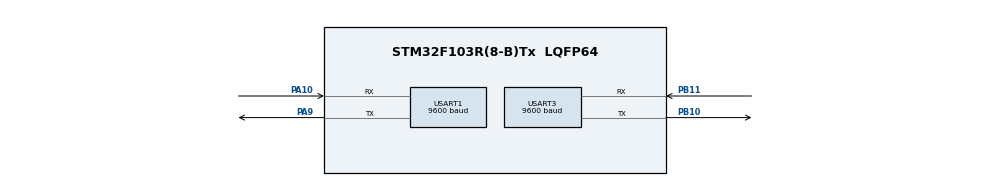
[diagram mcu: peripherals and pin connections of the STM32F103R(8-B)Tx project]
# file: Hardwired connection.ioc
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Mcu.Family=STM32F1
Mcu.Name=STM32F103R(8-B)Tx
Mcu.Package=LQFP64
NVIC.PriorityGroup=NVIC_PRIORITYGROUP_4
NVIC.USART1_IRQn=true\:0\:0\:false\:false\:true\:true\:true
NVIC.USART3_IRQn=true\:0\:0\:false\:false\:true\:true\:true
PA10.Mode=Asynchronous
PA10.Signal=USART1_RX
PA13.Mode=Serial_Wire
PA13.Signal=SYS_JTMS-SWDIO
PA14.Mode=Serial_Wire
PA14.Signal=SYS_JTCK-SWCLK
PA9.Mode=Asynchronous
PA9.Signal=USART1_TX
PB10.Mode=Asynchronous
PB10.Signal=USART3_TX
PB11.Mode=Asynchronous
PB11.Signal=USART3_RX
ProjectManager.HeapSize=0x200
ProjectManager.StackSize=0x400
ProjectManager.TargetToolchain=STM32CubeIDE
RCC.APB1Freq_Value=8000000
RCC.APB2Freq_Value=8000000
USART1.BaudRate=9600
USART1.VirtualMode=VM_ASYNC
USART3.BaudRate=9600
USART3.VirtualMode=VM_ASYNC
board=custom

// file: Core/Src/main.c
/* USER CODE BEGIN Header */
/**
  ******************************************************************************
  * @file           : main.c
  * @brief          : Main program body
  ******************************************************************************
  * @attention
  *
  * <h2><center>&copy; Copyright (c) 2021 STMicroelectronics.
  * All rights reserved.</center></h2>
  *
  * This software component is licensed by ST under BSD 3-Clause license,
  * the "License"; You may not use this file except in compliance with the
  * License. You may obtain a copy of the License at:
  *                        opensource.org/licenses/BSD-3-Clause
  *
  ******************************************************************************
  */
/* USER CODE END Header */
#include "main.h"

UART_HandleTypeDef huart1;
UART_HandleTypeDef huart3;

/* USER CODE BEGIN PV */
uint8_t uartBufferTX[] = {0x7E, 0x00, 0x0F, 0x17, 0x01, 0x00, 0x13, 0xA2, 0x00, 0x41, 0x68, 0x0B, 0xB9, 0xFF, 0xFE, 0x02, 0x25, 0x56, 0x4B};
uint8_t uartBufferRX[25];				//7E 00 0F 17 01 00 13 A2 00 41 68 0B B9 FF FE 02 25 56 4B

/* USER CODE END PV */

void SystemClock_Config(void);
static void MX_GPIO_Init(void);
static void MX_USART1_UART_Init(void);
static void MX_USART3_UART_Init(void);

int main(void)
{

  /* MCU Configuration--------------------------------------------------------*/

  /* Reset of all peripherals, Initializes the Flash interface and the Systick. */
  HAL_Init();

  /* Configure the system clock */
  SystemClock_Config();

  /* Initialize all configured peripherals */
  MX_GPIO_Init();
  MX_USART1_UART_Init();
  MX_USART3_UART_Init();
  /* USER CODE BEGIN 2 */
  HAL_UART_Receive_IT(&huart1, &uartBufferRX[0], 21);
  HAL_UART_Receive_IT(&huart3, &uartBufferRX[0], 21);

  /* USER CODE END 2 */

  /* Infinite loop */
  while (1)
  {

    /* USER CODE BEGIN 3 */
	  HAL_UART_Transmit(&huart1, uartBufferTX, 20, 100);
	  //HAL_UART_Transmit(&huart3, buffer, length, 1);
	  HAL_Delay(1000);
  }
  /* USER CODE END 3 */
}

void SystemClock_Config(void)
{
  RCC_OscInitTypeDef RCC_OscInitStruct = {0};
  RCC_ClkInitTypeDef RCC_ClkInitStruct = {0};

  /** Initializes the RCC Oscillators according to the specified parameters
  * in the RCC_OscInitTypeDef structure.
  */
  RCC_OscInitStruct.OscillatorType = RCC_OSCILLATORTYPE_HSI;
  RCC_OscInitStruct.HSIState = RCC_HSI_ON;
  RCC_OscInitStruct.HSICalibrationValue = RCC_HSICALIBRATION_DEFAULT;
  RCC_OscInitStruct.PLL.PLLState = RCC_PLL_NONE;
  if (HAL_RCC_OscConfig(&RCC_OscInitStruct) != HAL_OK)
  {
    Error_Handler();
  }
  /** Initializes the CPU, AHB and APB buses clocks
  */
  RCC_ClkInitStruct.ClockType = RCC_CLOCKTYPE_HCLK|RCC_CLOCKTYPE_SYSCLK
                              |RCC_CLOCKTYPE_PCLK1|RCC_CLOCKTYPE_PCLK2;
  RCC_ClkInitStruct.SYSCLKSource = RCC_SYSCLKSOURCE_HSI;
  RCC_ClkInitStruct.AHBCLKDivider = RCC_SYSCLK_DIV1;
  RCC_ClkInitStruct.APB1CLKDivider = RCC_HCLK_DIV1;
  RCC_ClkInitStruct.APB2CLKDivider = RCC_HCLK_DIV1;

  if (HAL_RCC_ClockConfig(&RCC_ClkInitStruct, FLASH_LATENCY_0) != HAL_OK)
  {
    Error_Handler();
  }
}

static void MX_USART1_UART_Init(void)
{

  huart1.Instance = USART1;
  huart1.Init.BaudRate = 9600;
  huart1.Init.WordLength = UART_WORDLENGTH_8B;
  huart1.Init.StopBits = UART_STOPBITS_1;
  huart1.Init.Parity = UART_PARITY_NONE;
  huart1.Init.Mode = UART_MODE_TX_RX;
  huart1.Init.HwFlowCtl = UART_HWCONTROL_NONE;
  huart1.Init.OverSampling = UART_OVERSAMPLING_16;
  if (HAL_UART_Init(&huart1) != HAL_OK)
  {
    Error_Handler();
  }

}

static void MX_USART3_UART_Init(void)
{

  huart3.Instance = USART3;
  huart3.Init.BaudRate = 9600;
  huart3.Init.WordLength = UART_WORDLENGTH_8B;
  huart3.Init.StopBits = UART_STOPBITS_1;
  huart3.Init.Parity = UART_PARITY_NONE;
  huart3.Init.Mode = UART_MODE_TX_RX;
  huart3.Init.HwFlowCtl = UART_HWCONTROL_NONE;
  huart3.Init.OverSampling = UART_OVERSAMPLING_16;
  if (HAL_UART_Init(&huart3) != HAL_OK)
  {
    Error_Handler();
  }

}

static void MX_GPIO_Init(void)
{

  /* GPIO Ports Clock Enable */
  __HAL_RCC_GPIOB_CLK_ENABLE();
  __HAL_RCC_GPIOA_CLK_ENABLE();

}

/* USER CODE BEGIN 4 */
void HAL_UART_RxCpltCallback(UART_HandleTypeDef * huart)
{

	if (huart == &huart3){
	//has to stay with main (the file where the "UART_HandleTypeDef huart3;" is)
	if (uartBufferRX[0] == 0x7E)
	{
		switch (uartBufferRX[3])
		{
		case 0x92:
			//processIO(uartBufferRX);
			break;

		case 0x97:
			//processATResponse(uartBufferRX);
			break;

		default://if it wasnt an expected data type just throw it out
			//uartInterruptInit(26);
			break;
		}
	}

	HAL_UART_Receive_IT(&huart3, uartBufferRX, 21);

	}

	return;
}

/* USER CODE END 4 */

void Error_Handler(void)
{
}

/************************ (C) COPYRIGHT STMicroelectronics *****END OF FILE****/
